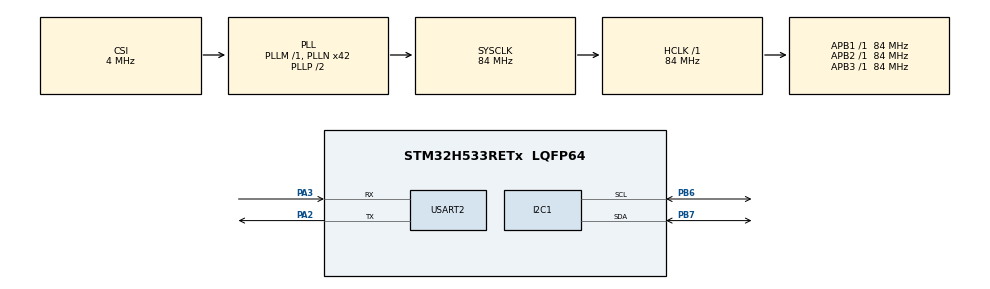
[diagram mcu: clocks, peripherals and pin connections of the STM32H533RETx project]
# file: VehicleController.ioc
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BOOTPATH.BootPathName=LEGACY
BOOTPATH.UserSelectedBootPath=LEGACY
CORTEX_M33_NS.userName=CORTEX_M33
I2C1.Timing=0x10A0A4F8
Mcu.Family=STM32H5
Mcu.Name=STM32H533RETx
Mcu.Package=LQFP64
NVIC.PriorityGroup=NVIC_PRIORITYGROUP_4
NVIC.TIM2_IRQn=true\:0\:0\:false\:false\:true\:true\:true\:true
NVIC.TIM3_IRQn=true\:0\:0\:false\:false\:true\:true\:true\:true
NVIC.USART2_IRQn=true\:0\:0\:false\:false\:true\:true\:true\:true
PA2.Mode=Asynchronous
PA2.Signal=USART2_TX
PA3.Mode=Asynchronous
PA3.Signal=USART2_RX
PB6.Mode=I2C
PB6.Signal=I2C1_SCL
PB7.Mode=I2C
PB7.Signal=I2C1_SDA
ProjectManager.HeapSize=0x200
ProjectManager.StackSize=0x400
ProjectManager.TargetToolchain=STM32CubeIDE
RCC.ADCFreq_Value=84000000
RCC.AHBFreq_Value=84000000
RCC.APB1Freq_Value=84000000
RCC.APB1TimFreq_Value=84000000
RCC.APB2Freq_Value=84000000
RCC.APB2TimFreq_Value=84000000
RCC.APB3Freq_Value=84000000
RCC.CSI_VALUE=4000000
RCC.CortexFreq_Value=84000000
RCC.EPOD_VALUE=4000000
RCC.HCLKFreq_Value=84000000
RCC.HSE_VALUE=25000000
RCC.HSI48_VALUE=48000000
RCC.HSI_VALUE=64000000
RCC.LSE_VALUE=32768
RCC.LSIRC_VALUE=32000
RCC.PLL2FRACN=0
RCC.PLL3FRACN=0
RCC.PLLFRACN=0
RCC.PLLN=42
RCC.SYSCLKFreq_VALUE=84000000
RCC.SYSCLKSource=RCC_SYSCLKSOURCE_PLLCLK
RCC.USBFreq_Value=48000000
RCC.VCOOutputFreq_Value=168000000
TIM2.PeriodNoDither=1000-1
TIM2.Prescaler=8400-1
TIM3.PeriodNoDither=100-1
TIM3.Prescaler=8400-1
USART2.VirtualMode-Asynchronous=VM_ASYNC
VP_BOOTPATH_VS_BOOTPATH.Mode=BP_Activate
VP_CORTEX_M33_NS_VS_Hclk.Mode=Hclk_Mode
VP_MEMORYMAP_VS_MEMORYMAP.Mode=CurAppReg
VP_PWR_VS_LPOM.Mode=PowerOptimisation
VP_PWR_VS_SECSignals.Mode=Security/Privilege
VP_TIM2_VS_ClockSourceINT.Mode=Internal
VP_TIM3_VS_ClockSourceINT.Mode=Internal
board=custom

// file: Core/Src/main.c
/* USER CODE BEGIN Header */
/**
  ******************************************************************************
  * @file           : main.c
  * @brief          : Main program body
  ******************************************************************************
  * @attention
  *
  * Copyright (c) 2025 STMicroelectronics.
  * All rights reserved.
  *
  * This software is licensed under terms that can be found in the LICENSE file
  * in the root directory of this software component.
  * If no LICENSE file comes with this software, it is provided AS-IS.
  *
  ******************************************************************************
  */
/* USER CODE END Header */
#include "main.h"

/* USER CODE BEGIN Includes */
#include <stdio.h>

#include "../OwnLibrary/VehicleData/DataFromMainProcessor.h"
#include "../OwnLibrary/VehicleData/DataToMainProcessor.h"

#include "../OwnLibrary/VL6180X.h"
/* USER CODE END Includes */

I2C_HandleTypeDef hi2c1;

TIM_HandleTypeDef htim2;
TIM_HandleTypeDef htim3;

UART_HandleTypeDef huart2;

/* USER CODE BEGIN PV */
struct DataToMainProcessor dataToMainProcessor;
struct DataFromMainProcessor dataFromMainProcessor;

#define TCA9548A_ADDR  (0x70 << 1)  // Multiplexer adres
#define VL6180X_ADDR   (0x29 << 1)  // Sensor adres

int __io_putchar(int ch);
void TCA9548A_SelectChannel(uint8_t channel);
void SendSerialData();

volatile bool sendDataFlag = false;
/* USER CODE END PV */

void SystemClock_Config(void);
static void MX_GPIO_Init(void);
static void MX_I2C1_Init(void);
static void MX_TIM2_Init(void);
static void MX_USART2_UART_Init(void);
static void MX_TIM3_Init(void);

int main(void)
{

  /* MCU Configuration--------------------------------------------------------*/

  /* Reset of all peripherals, Initializes the Flash interface and the Systick. */
  HAL_Init();

  /* Configure the system clock */
  SystemClock_Config();

  /* Initialize all configured peripherals */
  MX_GPIO_Init();
  MX_I2C1_Init();
  MX_TIM2_Init();
  MX_USART2_UART_Init();
  MX_TIM3_Init();
  /* USER CODE BEGIN 2 */
  HAL_TIM_Base_Start_IT(&htim2);
  HAL_TIM_Base_Start_IT(&htim3);
  /* USER CODE END 2 */

  /* Infinite loop */
  /* USER CODE BEGIN WHILE */

  TCA9548A_SelectChannel(4);    // Selecteer kanaal 4
  HAL_Delay(10);
  VL6180X_SimpleInit();

  while (1)
  {
	  HAL_UART_Receive_IT(&huart2, (uint8_t*)&dataFromMainProcessor, sizeof(dataFromMainProcessor));

	    if (sendDataFlag) {
	        sendDataFlag = false;
	        SendSerialData();
	    }

    /* USER CODE END WHILE */

  }
}

void SystemClock_Config(void)
{
  RCC_OscInitTypeDef RCC_OscInitStruct = {0};
  RCC_ClkInitTypeDef RCC_ClkInitStruct = {0};

  /** Configure the main internal regulator output voltage
  */
  __HAL_PWR_VOLTAGESCALING_CONFIG(PWR_REGULATOR_VOLTAGE_SCALE3);

  while(!__HAL_PWR_GET_FLAG(PWR_FLAG_VOSRDY)) {}

  /** Initializes the RCC Oscillators according to the specified parameters
  * in the RCC_OscInitTypeDef structure.
  */
  RCC_OscInitStruct.OscillatorType = RCC_OSCILLATORTYPE_CSI;
  RCC_OscInitStruct.CSIState = RCC_CSI_ON;
  RCC_OscInitStruct.CSICalibrationValue = RCC_CSICALIBRATION_DEFAULT;
  RCC_OscInitStruct.PLL.PLLState = RCC_PLL_ON;
  RCC_OscInitStruct.PLL.PLLSource = RCC_PLL1_SOURCE_CSI;
  RCC_OscInitStruct.PLL.PLLM = 1;
  RCC_OscInitStruct.PLL.PLLN = 42;
  RCC_OscInitStruct.PLL.PLLP = 2;
  RCC_OscInitStruct.PLL.PLLQ = 2;
  RCC_OscInitStruct.PLL.PLLR = 2;
  RCC_OscInitStruct.PLL.PLLRGE = RCC_PLL1_VCIRANGE_2;
  RCC_OscInitStruct.PLL.PLLVCOSEL = RCC_PLL1_VCORANGE_WIDE;
  RCC_OscInitStruct.PLL.PLLFRACN = 0;
  if (HAL_RCC_OscConfig(&RCC_OscInitStruct) != HAL_OK)
  {
    Error_Handler();
  }

  /** Initializes the CPU, AHB and APB buses clocks
  */
  RCC_ClkInitStruct.ClockType = RCC_CLOCKTYPE_HCLK|RCC_CLOCKTYPE_SYSCLK
                              |RCC_CLOCKTYPE_PCLK1|RCC_CLOCKTYPE_PCLK2
                              |RCC_CLOCKTYPE_PCLK3;
  RCC_ClkInitStruct.SYSCLKSource = RCC_SYSCLKSOURCE_PLLCLK;
  RCC_ClkInitStruct.AHBCLKDivider = RCC_SYSCLK_DIV1;
  RCC_ClkInitStruct.APB1CLKDivider = RCC_HCLK_DIV1;
  RCC_ClkInitStruct.APB2CLKDivider = RCC_HCLK_DIV1;
  RCC_ClkInitStruct.APB3CLKDivider = RCC_HCLK_DIV1;

  if (HAL_RCC_ClockConfig(&RCC_ClkInitStruct, FLASH_LATENCY_4) != HAL_OK)
  {
    Error_Handler();
  }

  /** Configure the programming delay
  */
  __HAL_FLASH_SET_PROGRAM_DELAY(FLASH_PROGRAMMING_DELAY_2);
}

static void MX_I2C1_Init(void)
{

  hi2c1.Instance = I2C1;
  hi2c1.Init.Timing = 0x10A0A4F8;
  hi2c1.Init.OwnAddress1 = 0;
  hi2c1.Init.AddressingMode = I2C_ADDRESSINGMODE_7BIT;
  hi2c1.Init.DualAddressMode = I2C_DUALADDRESS_DISABLE;
  hi2c1.Init.OwnAddress2 = 0;
  hi2c1.Init.OwnAddress2Masks = I2C_OA2_NOMASK;
  hi2c1.Init.GeneralCallMode = I2C_GENERALCALL_DISABLE;
  hi2c1.Init.NoStretchMode = I2C_NOSTRETCH_DISABLE;
  if (HAL_I2C_Init(&hi2c1) != HAL_OK)
  {
    Error_Handler();
  }

  /** Configure Analogue filter
  */
  if (HAL_I2CEx_ConfigAnalogFilter(&hi2c1, I2C_ANALOGFILTER_ENABLE) != HAL_OK)
  {
    Error_Handler();
  }

  /** Configure Digital filter
  */
  if (HAL_I2CEx_ConfigDigitalFilter(&hi2c1, 0) != HAL_OK)
  {
    Error_Handler();
  }

}

static void MX_TIM2_Init(void)
{

  TIM_ClockConfigTypeDef sClockSourceConfig = {0};
  TIM_MasterConfigTypeDef sMasterConfig = {0};

  htim2.Instance = TIM2;
  htim2.Init.Prescaler = 8400-1;
  htim2.Init.CounterMode = TIM_COUNTERMODE_UP;
  htim2.Init.Period = 999;
  htim2.Init.ClockDivision = TIM_CLOCKDIVISION_DIV1;
  htim2.Init.AutoReloadPreload = TIM_AUTORELOAD_PRELOAD_DISABLE;
  if (HAL_TIM_Base_Init(&htim2) != HAL_OK)
  {
    Error_Handler();
  }
  sClockSourceConfig.ClockSource = TIM_CLOCKSOURCE_INTERNAL;
  if (HAL_TIM_ConfigClockSource(&htim2, &sClockSourceConfig) != HAL_OK)
  {
    Error_Handler();
  }
  sMasterConfig.MasterOutputTrigger = TIM_TRGO_RESET;
  sMasterConfig.MasterSlaveMode = TIM_MASTERSLAVEMODE_DISABLE;
  if (HAL_TIMEx_MasterConfigSynchronization(&htim2, &sMasterConfig) != HAL_OK)
  {
    Error_Handler();
  }

}

static void MX_TIM3_Init(void)
{

  TIM_ClockConfigTypeDef sClockSourceConfig = {0};
  TIM_MasterConfigTypeDef sMasterConfig = {0};

  htim3.Instance = TIM3;
  htim3.Init.Prescaler = 8400-1;
  htim3.Init.CounterMode = TIM_COUNTERMODE_UP;
  htim3.Init.Period = 999;
  htim3.Init.ClockDivision = TIM_CLOCKDIVISION_DIV1;
  htim3.Init.AutoReloadPreload = TIM_AUTORELOAD_PRELOAD_DISABLE;
  if (HAL_TIM_Base_Init(&htim3) != HAL_OK)
  {
    Error_Handler();
  }
  sClockSourceConfig.ClockSource = TIM_CLOCKSOURCE_INTERNAL;
  if (HAL_TIM_ConfigClockSource(&htim3, &sClockSourceConfig) != HAL_OK)
  {
    Error_Handler();
  }
  sMasterConfig.MasterOutputTrigger = TIM_TRGO_RESET;
  sMasterConfig.MasterSlaveMode = TIM_MASTERSLAVEMODE_DISABLE;
  if (HAL_TIMEx_MasterConfigSynchronization(&htim3, &sMasterConfig) != HAL_OK)
  {
    Error_Handler();
  }

}

static void MX_USART2_UART_Init(void)
{

  huart2.Instance = USART2;
  huart2.Init.BaudRate = 115200;
  huart2.Init.WordLength = UART_WORDLENGTH_8B;
  huart2.Init.StopBits = UART_STOPBITS_1;
  huart2.Init.Parity = UART_PARITY_NONE;
  huart2.Init.Mode = UART_MODE_TX_RX;
  huart2.Init.HwFlowCtl = UART_HWCONTROL_NONE;
  huart2.Init.OverSampling = UART_OVERSAMPLING_16;
  huart2.Init.OneBitSampling = UART_ONE_BIT_SAMPLE_DISABLE;
  huart2.Init.ClockPrescaler = UART_PRESCALER_DIV1;
  huart2.AdvancedInit.AdvFeatureInit = UART_ADVFEATURE_NO_INIT;
  if (HAL_UART_Init(&huart2) != HAL_OK)
  {
    Error_Handler();
  }
  if (HAL_UARTEx_SetTxFifoThreshold(&huart2, UART_TXFIFO_THRESHOLD_1_8) != HAL_OK)
  {
    Error_Handler();
  }
  if (HAL_UARTEx_SetRxFifoThreshold(&huart2, UART_RXFIFO_THRESHOLD_1_8) != HAL_OK)
  {
    Error_Handler();
  }
  if (HAL_UARTEx_DisableFifoMode(&huart2) != HAL_OK)
  {
    Error_Handler();
  }

}

static void MX_GPIO_Init(void)
{

  /* GPIO Ports Clock Enable */
  __HAL_RCC_GPIOA_CLK_ENABLE();
  __HAL_RCC_GPIOB_CLK_ENABLE();

}

/* USER CODE BEGIN 4 */
int __io_putchar(int ch){
  	HAL_UART_Transmit(&huart2, (uint8_t*)&ch, 1, HAL_MAX_DELAY);
  	return ch;
}

void TCA9548A_SelectChannel(uint8_t channel)
{
    uint8_t command = (1 << channel);
    HAL_I2C_Master_Transmit(&hi2c1, TCA9548A_ADDR, &command, 1, HAL_MAX_DELAY);
}

void SendSerialData() {
//	if (VL6180X_IsReady()) {

//	}

    dataToMainProcessor.voltageBattery = 25.0;

    dataToMainProcessor.disMmFront = 15;

//    SelectTCA9548A(5);
    dataToMainProcessor.disMmSideBack = 2;

    dataToMainProcessor.potMeterValue = 8;
    dataToMainProcessor.disMmSideFront = VL6180X_ReadRange();

//    dataToMainProcessor.flags = 0;
//    dataToMainProcessor.flags |= (1 << 0);
    dataToMainProcessor.flags ^= (1 << 0); // Wissel bit 0
  // send data to Processor

  struct DataToMainProcessor tempDataToProcessor = { dataToMainProcessor.voltageBattery,
                                              dataToMainProcessor.disMmFront,
                                              dataToMainProcessor.disMmSideFront,
											  dataToMainProcessor.disMmSideBack,
                                              dataToMainProcessor.potMeterValue,
                                              dataToMainProcessor.flags };

  HAL_UART_Transmit(&huart2, (uint8_t*)&tempDataToProcessor, sizeof(tempDataToProcessor), HAL_MAX_DELAY);
}

void HAL_UART_RxCpltCallback(UART_HandleTypeDef *huart)
{
  /* Prevent unused argument(s) compilation warning */
  UNUSED(huart);

  /* NOTE : This function should not be modified, when the callback is needed,
            the HAL_UART_RxCpltCallback can be implemented in the user file.
   */
}

void HAL_TIM_PeriodElapsedCallback(TIM_HandleTypeDef *htim)
{
  /* Prevent unused argument(s) compilation warning */
  UNUSED(htim);

  /* NOTE : This function should not be modified, when the callback is needed,
            the HAL_TIM_PeriodElapsedCallback could be implemented in the user file
   */
  if (htim->Instance == TIM2){
	  sendDataFlag = true;
  }
  if (htim->Instance == TIM3){
//		uint8_t afstand = VL6180X_ReadRange();
//		dataToMainProcessor.disMmSideFront = afstand;
  }

}
/* USER CODE END 4 */

void Error_Handler(void)
{
  __disable_irq();
  while (1)
  {
  }
}
